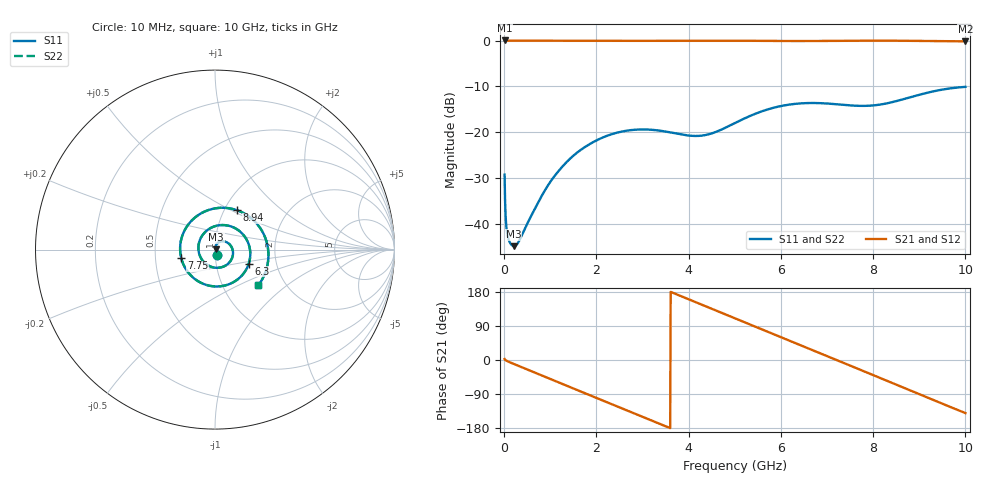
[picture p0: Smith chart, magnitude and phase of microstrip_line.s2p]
! Touchstone file converted from gerber2ems Port_0_data.csv
! Assumption: Channel is reciprocal and symmetric (S11=S22, S21=S12)
# GHz S MA R 50.0
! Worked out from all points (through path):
!   1000 points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, 10 MHz to 10 GHz, reference 50 ohm
!   highest |S21| = 0.03 dB at 10 MHz (marker M1); lowest = -0.2 dB at 10 GHz (marker M2)
!   group delay of S21, straight-line fit = 139 ps
!   lowest |S11| = -44.9 dB at 210 MHz (marker M3), VSWR 1.01, Z = 50.6 + j0.135 ohm
!   |S11| at or under -10 dB: start of sweep to end of sweep
!   |S22| runs from -44.9 to -10.1 dB; largest |S21 - S12| = 0
!   S11 on the Smith chart (normalised r, x): 10 MHz: 1.02, -0.07; 6.3 GHz: 1.44, -0.24; 7.75 GHz: 0.68, -0.07; 8.94 GHz: 1.15, +0.54; 10 GHz: 1.47, -0.65
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0.01  0.03444 -70.9  1.004 2.5  1.004 2.5  0.03444 -70.9
0.09  0.006916 -22.7  0.9997 -4.2  0.9997 -4.2  0.006916 -22.7
0.21  0.005716 13.5  0.9983 -10.4  0.9983 -10.4  0.005716 13.5
0.58  0.01207 69.7  0.9995 -29.0  0.9995 -29.0  0.01207 69.7
1.02  0.02968 73.9  0.9988 -51.0  0.9988 -51.0  0.02968 73.9
1.68  0.06522 45.0  0.9967 -84.1  0.9967 -84.1  0.06522 45.0
2.44  0.09871 -1.7  0.9948 -122.0  0.9948 -122.0  0.09871 -1.7
2.91  0.1071 -35.5  0.9946 -145.3  0.9946 -145.3  0.1071 -35.5
3.34  0.1047 -70.9  0.9957 -166.8  0.9957 -166.8  0.1047 -70.9
3.73  0.09686 -109.0  0.9976 173.7  0.9976 173.7  0.09686 -109.0
4.12  0.09116 -154.8  0.9993 154.1  0.9993 154.1  0.09116 -154.8
4.59  0.1008 144.5  0.9996 130.5  0.9996 130.5  0.1008 144.5
5.01  0.1265 95.7  0.9977 109.3  0.9977 109.3  0.1265 95.7
5.63  0.1721 35.8  0.9926 78.3  0.9926 78.3  0.1721 35.8
6.3  0.2038 -22.5  0.989 45.1  0.989 45.1  0.2038 -22.5
6.67  0.2086 -55.2  0.9899 26.8  0.9899 26.8  0.2086 -55.2
7.22  0.2018 -107.7  0.9946 -0.6  0.9946 -0.6  0.2018 -107.7
7.75  0.194 -165.4  0.9993 -27.3  0.9993 -27.3  0.194 -165.4
8.34  0.2089 125.6  0.9992 -57.3  0.9992 -57.3  0.2089 125.6
8.94  0.2516 60.6  0.9922 -87.6  0.9922 -87.6  0.2516 60.6
9.5  0.292 6.6  0.9842 -115.4  0.9842 -115.4  0.292 6.6
10  0.3126 -39.3  0.9817 -140.0  0.9817 -140.0  0.3126 -39.3
